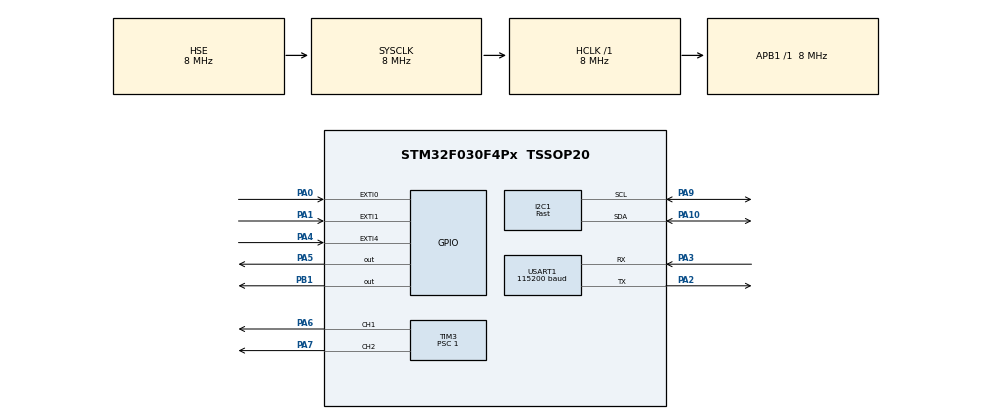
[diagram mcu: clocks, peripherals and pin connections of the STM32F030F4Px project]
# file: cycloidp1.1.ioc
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I2C1.I2C_Speed_Mode=I2C_Fast
I2C1.NoStretchMode=I2C_NOSTRETCH_ENABLE
I2C1.OwnAddress=0x75
I2C1.Timing=0x0000020B
Mcu.Family=STM32F0
Mcu.Name=STM32F030F4Px
Mcu.Package=TSSOP20
NVIC.EXTI0_1_IRQn=true\:0\:0\:false\:false\:false\:true
NVIC.EXTI4_15_IRQn=true\:0\:0\:false\:false\:false\:true
NVIC.I2C1_IRQn=true\:0\:0\:false\:false\:false\:true
NVIC.TIM14_IRQn=true\:0\:0\:false\:false\:false\:true
NVIC.TIM3_IRQn=true\:0\:0\:false\:false\:false\:true
NVIC.USART1_IRQn=true\:0\:0\:false\:false\:false\:true
PA0.GPIO_PuPd=GPIO_PULLDOWN
PA0.Signal=GPXTI0
PA1.GPIO_PuPd=GPIO_PULLDOWN
PA1.Signal=GPXTI1
PA10.Mode=I2C
PA10.Signal=I2C1_SDA
PA13.Mode=Serial_Wire
PA13.Signal=SYS_SWDIO
PA14.Mode=Serial_Wire
PA14.Signal=SYS_SWCLK
PA2.Mode=Asynchronous
PA2.Signal=USART1_TX
PA3.Mode=Asynchronous
PA3.Signal=USART1_RX
PA4.GPIO_PuPd=GPIO_PULLDOWN
PA4.Signal=GPXTI4
PA5.PinState=GPIO_PIN_SET
PA5.Signal=GPIO_Output
PA6.Signal=S_TIM3_CH1
PA7.Signal=S_TIM3_CH2
PA9.Mode=I2C
PA9.Signal=I2C1_SCL
PB1.PinState=GPIO_PIN_SET
PB1.Signal=GPIO_Output
PF0-OSC_IN.Mode=HSE-External-Oscillator
PF0-OSC_IN.Signal=RCC_OSC_IN
PF1-OSC_OUT.Mode=HSE-External-Oscillator
PF1-OSC_OUT.Signal=RCC_OSC_OUT
ProjectManager.HeapSize=0x200
ProjectManager.StackSize=0x400
ProjectManager.TargetToolchain=Makefile
RCC.AHBFreq_Value=8000000
RCC.APB1Freq_Value=8000000
RCC.APB1TimFreq_Value=8000000
RCC.HCLKFreq_Value=8000000
RCC.I2c1ClockSelection=RCC_I2C1CLKSOURCE_SYSCLK
RCC.PLLMUL=RCC_PLL_MUL6
RCC.PLLSourceVirtual=RCC_PLLSOURCE_HSE
RCC.SYSCLKFreq_VALUE=8000000
RCC.SYSCLKSource=RCC_SYSCLKSOURCE_HSE
SH.S_TIM3_CH1.0=TIM3_CH1,PWM Generation1 CH1
SH.S_TIM3_CH2.0=TIM3_CH2,PWM Generation2 CH2
TIM14.AutoReloadPreload=TIM_AUTORELOAD_PRELOAD_DISABLE
TIM14.Period=65535
TIM14.Prescaler=7
TIM3.AutoReloadPreload=TIM_AUTORELOAD_PRELOAD_ENABLE
TIM3.Channel-PWM\ Generation1\ CH1=TIM_CHANNEL_1
TIM3.Channel-PWM\ Generation2\ CH2=TIM_CHANNEL_2
TIM3.ClockDivision=TIM_CLOCKDIVISION_DIV1
TIM3.Period=39999
TIM3.Prescaler=1
TIM3.Pulse-PWM\ Generation1\ CH1=6000
TIM3.Pulse-PWM\ Generation2\ CH2=6000
USART1.AutoBaudRateEnableParam=UART_ADVFEATURE_AUTOBAUDRATE_DISABLE
USART1.BaudRate=115200
USART1.VirtualMode-Asynchronous=VM_ASYNC
VP_TIM14_VS_ClockSourceINT.Mode=Enable_Timer
VP_TIM3_VS_ClockSourceINT.Mode=Internal
board=custom

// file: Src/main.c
/* USER CODE BEGIN Header */
/**
  ******************************************************************************
  * @file           : main.c
  * @brief          : Main program body
  ******************************************************************************
  ** This notice applies to any and all portions of this file
  * that are not between comment pairs USER CODE BEGIN and
  * USER CODE END. Other portions of this file, whether
  * inserted by the user or by software development tools
  * are owned by their respective copyright owners.
  *
  * COPYRIGHT(c) 2018 STMicroelectronics
  *
  * Redistribution and use in source and binary forms, with or without modification,
  * are permitted provided that the following conditions are met:
  *   1. Redistributions of source code must retain the above copyright notice,
  *      this list of conditions and the following disclaimer.
  *   2. Redistributions in binary form must reproduce the above copyright notice,
  *      this list of conditions and the following disclaimer in the documentation
  *      and/or other materials provided with the distribution.
  *   3. Neither the name of STMicroelectronics nor the names of its contributors
  *      may be used to endorse or promote products derived from this software
  *      without specific prior written permission.
  *
  * THIS SOFTWARE IS PROVIDED BY THE COPYRIGHT HOLDERS AND CONTRIBUTORS "AS IS"
  * AND ANY EXPRESS OR IMPLIED WARRANTIES, INCLUDING, BUT NOT LIMITED TO, THE
  * IMPLIED WARRANTIES OF MERCHANTABILITY AND FITNESS FOR A PARTICULAR PURPOSE ARE
  * DISCLAIMED. IN NO EVENT SHALL THE COPYRIGHT HOLDER OR CONTRIBUTORS BE LIABLE
  * FOR ANY DIRECT, INDIRECT, INCIDENTAL, SPECIAL, EXEMPLARY, OR CONSEQUENTIAL
  * DAMAGES (INCLUDING, BUT NOT LIMITED TO, PROCUREMENT OF SUBSTITUTE GOODS OR
  * SERVICES; LOSS OF USE, DATA, OR PROFITS; OR BUSINESS INTERRUPTION) HOWEVER
  * CAUSED AND ON ANY THEORY OF LIABILITY, WHETHER IN CONTRACT, STRICT LIABILITY,
  * OR TORT (INCLUDING NEGLIGENCE OR OTHERWISE) ARISING IN ANY WAY OUT OF THE USE
  * OF THIS SOFTWARE, EVEN IF ADVISED OF THE POSSIBILITY OF SUCH DAMAGE.
  *
  ******************************************************************************
  */
/* USER CODE END Header */

#include "main.h"

I2C_HandleTypeDef hi2c1;

TIM_HandleTypeDef htim3;
TIM_HandleTypeDef htim14;

UART_HandleTypeDef huart1;

void SystemClock_Config(void);
static void MX_GPIO_Init(void);
static void MX_I2C1_Init(void);
static void MX_TIM3_Init(void);
static void MX_TIM14_Init(void);
static void MX_USART1_UART_Init(void);

int main(void)
{

  /* MCU Configuration--------------------------------------------------------*/

  /* Reset of all peripherals, Initializes the Flash interface and the Systick. */
  HAL_Init();

  /* Configure the system clock */
  SystemClock_Config();

  /* Initialize all configured peripherals */
  MX_GPIO_Init();
  MX_I2C1_Init();
  MX_TIM3_Init();
  MX_TIM14_Init();
  MX_USART1_UART_Init();
  /* USER CODE BEGIN 2 */

  HAL_TIM_PWM_Start(&htim3, TIM_CHANNEL_1);
  HAL_TIM_PWM_Start(&htim3, TIM_CHANNEL_2);
  HAL_TIM_Base_Start_IT(&htim3);
  HAL_TIM_Base_Start_IT(&htim14);
  __HAL_I2C_ENABLE_IT(&hi2c1, I2C_IT_ADDRI | I2C_IT_RXI | I2C_IT_TXI);
  SET_BIT(USART1->CR1, USART_CR1_RXNEIE);

  /* USER CODE END 2 */

  /* Infinite loop */
  while (1)
  {

    /* USER CODE BEGIN 3 */
    // Wait for interrupts; nothing else to do.
    __asm__("wfi");
  }
  /* USER CODE END 3 */
}

void SystemClock_Config(void)
{
  RCC_OscInitTypeDef RCC_OscInitStruct = {0};
  RCC_ClkInitTypeDef RCC_ClkInitStruct = {0};
  RCC_PeriphCLKInitTypeDef PeriphClkInit = {0};

  /**Initializes the CPU, AHB and APB busses clocks
  */
  RCC_OscInitStruct.OscillatorType = RCC_OSCILLATORTYPE_HSE;
  RCC_OscInitStruct.HSEState = RCC_HSE_ON;
  RCC_OscInitStruct.PLL.PLLState = RCC_PLL_NONE;
  if (HAL_RCC_OscConfig(&RCC_OscInitStruct) != HAL_OK)
  {
    Error_Handler();
  }
  /**Initializes the CPU, AHB and APB busses clocks
  */
  RCC_ClkInitStruct.ClockType = RCC_CLOCKTYPE_HCLK|RCC_CLOCKTYPE_SYSCLK
                              |RCC_CLOCKTYPE_PCLK1;
  RCC_ClkInitStruct.SYSCLKSource = RCC_SYSCLKSOURCE_HSE;
  RCC_ClkInitStruct.AHBCLKDivider = RCC_SYSCLK_DIV1;
  RCC_ClkInitStruct.APB1CLKDivider = RCC_HCLK_DIV1;

  if (HAL_RCC_ClockConfig(&RCC_ClkInitStruct, FLASH_LATENCY_0) != HAL_OK)
  {
    Error_Handler();
  }
  PeriphClkInit.PeriphClockSelection = RCC_PERIPHCLK_USART1|RCC_PERIPHCLK_I2C1;
  PeriphClkInit.Usart1ClockSelection = RCC_USART1CLKSOURCE_PCLK1;
  PeriphClkInit.I2c1ClockSelection = RCC_I2C1CLKSOURCE_SYSCLK;
  if (HAL_RCCEx_PeriphCLKConfig(&PeriphClkInit) != HAL_OK)
  {
    Error_Handler();
  }
}

static void MX_I2C1_Init(void)
{

  hi2c1.Instance = I2C1;
  hi2c1.Init.Timing = 0x0000020B;
  hi2c1.Init.OwnAddress1 = 234;
  hi2c1.Init.AddressingMode = I2C_ADDRESSINGMODE_7BIT;
  hi2c1.Init.DualAddressMode = I2C_DUALADDRESS_DISABLE;
  hi2c1.Init.OwnAddress2 = 0;
  hi2c1.Init.OwnAddress2Masks = I2C_OA2_NOMASK;
  hi2c1.Init.GeneralCallMode = I2C_GENERALCALL_DISABLE;
  hi2c1.Init.NoStretchMode = I2C_NOSTRETCH_ENABLE;
  if (HAL_I2C_Init(&hi2c1) != HAL_OK)
  {
    Error_Handler();
  }
  /**Configure Analogue filter
  */
  if (HAL_I2CEx_ConfigAnalogFilter(&hi2c1, I2C_ANALOGFILTER_ENABLE) != HAL_OK)
  {
    Error_Handler();
  }
  /**Configure Digital filter
  */
  if (HAL_I2CEx_ConfigDigitalFilter(&hi2c1, 0) != HAL_OK)
  {
    Error_Handler();
  }

}

static void MX_TIM3_Init(void)
{

  TIM_ClockConfigTypeDef sClockSourceConfig = {0};
  TIM_MasterConfigTypeDef sMasterConfig = {0};
  TIM_OC_InitTypeDef sConfigOC = {0};

  htim3.Instance = TIM3;
  htim3.Init.Prescaler = 1;
  htim3.Init.CounterMode = TIM_COUNTERMODE_UP;
  htim3.Init.Period = 39999;
  htim3.Init.ClockDivision = TIM_CLOCKDIVISION_DIV1;
  htim3.Init.AutoReloadPreload = TIM_AUTORELOAD_PRELOAD_ENABLE;
  if (HAL_TIM_Base_Init(&htim3) != HAL_OK)
  {
    Error_Handler();
  }
  sClockSourceConfig.ClockSource = TIM_CLOCKSOURCE_INTERNAL;
  if (HAL_TIM_ConfigClockSource(&htim3, &sClockSourceConfig) != HAL_OK)
  {
    Error_Handler();
  }
  if (HAL_TIM_PWM_Init(&htim3) != HAL_OK)
  {
    Error_Handler();
  }
  sMasterConfig.MasterOutputTrigger = TIM_TRGO_RESET;
  sMasterConfig.MasterSlaveMode = TIM_MASTERSLAVEMODE_DISABLE;
  if (HAL_TIMEx_MasterConfigSynchronization(&htim3, &sMasterConfig) != HAL_OK)
  {
    Error_Handler();
  }
  sConfigOC.OCMode = TIM_OCMODE_PWM1;
  sConfigOC.Pulse = 6000;
  sConfigOC.OCPolarity = TIM_OCPOLARITY_HIGH;
  sConfigOC.OCFastMode = TIM_OCFAST_DISABLE;
  if (HAL_TIM_PWM_ConfigChannel(&htim3, &sConfigOC, TIM_CHANNEL_1) != HAL_OK)
  {
    Error_Handler();
  }
  if (HAL_TIM_PWM_ConfigChannel(&htim3, &sConfigOC, TIM_CHANNEL_2) != HAL_OK)
  {
    Error_Handler();
  }
  HAL_TIM_MspPostInit(&htim3);

}

static void MX_TIM14_Init(void)
{

  htim14.Instance = TIM14;
  htim14.Init.Prescaler = 7;
  htim14.Init.CounterMode = TIM_COUNTERMODE_UP;
  htim14.Init.Period = 65535;
  htim14.Init.ClockDivision = TIM_CLOCKDIVISION_DIV1;
  htim14.Init.AutoReloadPreload = TIM_AUTORELOAD_PRELOAD_DISABLE;
  if (HAL_TIM_Base_Init(&htim14) != HAL_OK)
  {
    Error_Handler();
  }

}

static void MX_USART1_UART_Init(void)
{

  huart1.Instance = USART1;
  huart1.Init.BaudRate = 115200;
  huart1.Init.WordLength = UART_WORDLENGTH_8B;
  huart1.Init.StopBits = UART_STOPBITS_1;
  huart1.Init.Parity = UART_PARITY_NONE;
  huart1.Init.Mode = UART_MODE_TX_RX;
  huart1.Init.HwFlowCtl = UART_HWCONTROL_NONE;
  huart1.Init.OverSampling = UART_OVERSAMPLING_16;
  huart1.Init.OneBitSampling = UART_ONE_BIT_SAMPLE_DISABLE;
  huart1.AdvancedInit.AdvFeatureInit = UART_ADVFEATURE_NO_INIT;
  if (HAL_UART_Init(&huart1) != HAL_OK)
  {
    Error_Handler();
  }

}

static void MX_GPIO_Init(void)
{
  GPIO_InitTypeDef GPIO_InitStruct = {0};

  /* GPIO Ports Clock Enable */
  __HAL_RCC_GPIOF_CLK_ENABLE();
  __HAL_RCC_GPIOA_CLK_ENABLE();
  __HAL_RCC_GPIOB_CLK_ENABLE();

  /*Configure GPIO pin Output Level */
  HAL_GPIO_WritePin(GPIOA, GPIO_PIN_5, GPIO_PIN_SET);

  /*Configure GPIO pin Output Level */
  HAL_GPIO_WritePin(GPIOB, GPIO_PIN_1, GPIO_PIN_SET);

  /*Configure GPIO pins : PA0 PA1 PA4 */
  GPIO_InitStruct.Pin = GPIO_PIN_0|GPIO_PIN_1|GPIO_PIN_4;
  GPIO_InitStruct.Mode = GPIO_MODE_IT_RISING;
  GPIO_InitStruct.Pull = GPIO_PULLDOWN;
  HAL_GPIO_Init(GPIOA, &GPIO_InitStruct);

  /*Configure GPIO pin : PA5 */
  GPIO_InitStruct.Pin = GPIO_PIN_5;
  GPIO_InitStruct.Mode = GPIO_MODE_OUTPUT_PP;
  GPIO_InitStruct.Pull = GPIO_NOPULL;
  GPIO_InitStruct.Speed = GPIO_SPEED_FREQ_LOW;
  HAL_GPIO_Init(GPIOA, &GPIO_InitStruct);

  /*Configure GPIO pin : PB1 */
  GPIO_InitStruct.Pin = GPIO_PIN_1;
  GPIO_InitStruct.Mode = GPIO_MODE_OUTPUT_PP;
  GPIO_InitStruct.Pull = GPIO_NOPULL;
  GPIO_InitStruct.Speed = GPIO_SPEED_FREQ_LOW;
  HAL_GPIO_Init(GPIOB, &GPIO_InitStruct);

  /* EXTI interrupt init*/
  HAL_NVIC_SetPriority(EXTI0_1_IRQn, 0, 0);
  HAL_NVIC_EnableIRQ(EXTI0_1_IRQn);

  HAL_NVIC_SetPriority(EXTI4_15_IRQn, 0, 0);
  HAL_NVIC_EnableIRQ(EXTI4_15_IRQn);

}

/* USER CODE BEGIN 4 */

static const int COMMAND_TIMEOUT = 10;  // number of 10ms intervals to expect a command
static volatile uint8_t command_timeout_ = 0;

volatile union {
  struct {
    uint8_t leds;
    int8_t esc_pwm;
    int8_t servo_pwm;
    uint16_t motor_ticks;
    uint16_t motor_period;
    uint32_t motor_last_clock;
  } __attribute__((packed));
  uint8_t bytes[16];  // must be power of 2
} i2cdata_ = {.bytes = {0}}, i2cshadow_;

// TIM14: 65536us timer interrupt
static volatile uint16_t tim14_hi = 0;
void TIM14_IRQHandler(void)
{
  if(__HAL_TIM_GET_FLAG(&htim14, TIM_FLAG_UPDATE) != RESET) {
    __HAL_TIM_CLEAR_IT(&htim14, TIM_IT_UPDATE);
    if ((i2cdata_.motor_last_clock >> 16) == tim14_hi-1) {
      // no motor activity between 65..131ms ago; consider motor stopped
      i2cdata_.motor_period = 0;
    }
    tim14_hi++;
  }
}

// TIM14 is currently configured to tick every 1us but we may want more resolution
static uint32_t get_tim14_ticks() {
  return (((uint32_t)tim14_hi) << 16) + TIM14->CNT;
}

static uint16_t pwmtiming(int8_t pwm8) {
  return 6000 + (2000*pwm8 >> 7);
}

static void update_from_i2cdata() {
  __HAL_TIM_SET_COMPARE(&htim3, TIM_CHANNEL_1, pwmtiming(i2cdata_.servo_pwm));
  __HAL_TIM_SET_COMPARE(&htim3, TIM_CHANNEL_2, pwmtiming(i2cdata_.esc_pwm));
  HAL_GPIO_WritePin(GPIOA, GPIO_PIN_5, i2cdata_.leds & 1);
  HAL_GPIO_WritePin(GPIOB, GPIO_PIN_1, (i2cdata_.leds & 2) >> 1);
  command_timeout_ = COMMAND_TIMEOUT;
}

// If we don't receive a command from the host, reset our outputs to zero so we
// don't run away
static void reset_commands() {
  __HAL_TIM_SET_COMPARE(&htim3, TIM_CHANNEL_1, pwmtiming(0));
  __HAL_TIM_SET_COMPARE(&htim3, TIM_CHANNEL_2, pwmtiming(0));
  HAL_GPIO_WritePin(GPIOA, GPIO_PIN_5, 0);
  HAL_GPIO_WritePin(GPIOB, GPIO_PIN_1, 1);
}

static void update_phase() {
  // We only really care about the speed of the motor itself, so just track
  // that instead of individual phase windings.

  uint32_t t0 = i2cdata_.motor_last_clock;
  uint32_t t1 = get_tim14_ticks();
  int32_t p = t1 - t0;

  // smooth out period readings with an adaptive filter
  // low pass, ~15Hz bandwidth
  // the filter coefficient depends on period, as we aren't updating on a fixed
  // interval but rather on period itself.

  if (p < 32768) {
    // this can overflow if |lastp - p| >= 32768 but i'm not going
    // to worry about it
    int32_t lastp = i2cdata_.motor_period;
    p += ((p*(lastp - p)) >> 16);
  }
  if (p < 65535 && p > 0) {
    i2cdata_.motor_period = p;
  } else {
    i2cdata_.motor_period = 0;
  }

  i2cdata_.motor_last_clock = t1;
  i2cdata_.motor_ticks++;
}

void EXTI0_1_IRQHandler(void) {
  int update = 0;
  if(__HAL_GPIO_EXTI_GET_IT(GPIO_PIN_0) != RESET) {
    __HAL_GPIO_EXTI_CLEAR_IT(GPIO_PIN_0);
    update = 1;
  }
  if(__HAL_GPIO_EXTI_GET_IT(GPIO_PIN_1) != RESET) {
    __HAL_GPIO_EXTI_CLEAR_IT(GPIO_PIN_1);
    update = 1;
  }
  if (update) {
    update_phase();
  }
}

void EXTI4_15_IRQHandler(void) {
  if(__HAL_GPIO_EXTI_GET_IT(GPIO_PIN_4) != RESET) {
    __HAL_GPIO_EXTI_CLEAR_IT(GPIO_PIN_4);
    update_phase();
  }
}

// I2C slave

void I2C1_IRQHandler(void) {
  // The HAL I2C slave interrupt handler stuff is all garbage; implement our own here.
  static uint8_t reg_ptr = 0;
  static uint8_t firstbyte = 0;

  uint32_t itflags = READ_REG(I2C1->ISR);
  if (itflags & I2C_FLAG_ADDR) {  // address matched; start a transfer
    __HAL_I2C_CLEAR_FLAG(&hi2c1, I2C_FLAG_ADDR);
    if (I2C_GET_DIR(&hi2c1) == I2C_DIRECTION_TRANSMIT) {
      // prepare to receive bytes from master; first byte is register number
      firstbyte = 1;
    }
  }
  if (itflags & I2C_FLAG_TXE) {  // transmit register empty; send next byte
    reg_ptr = (reg_ptr+1) & (sizeof(i2cdata_) - 1);
    I2C1->TXDR = i2cshadow_.bytes[reg_ptr];
  }
  if (itflags & I2C_FLAG_RXNE) {  // receive register not empty
    uint8_t databyte = I2C1->RXDR & 0xff;
    if (firstbyte) {
      reg_ptr = databyte;
      firstbyte = 0;
      reg_ptr &= sizeof(i2cdata_) - 1;
      // flush TX buffer and reload with new data byte

      // just to ensure we don't spuriously re-trigger the interrupt we're
      // already in; I am not sure whether this is necessary:
      __disable_irq();
      i2cshadow_ = i2cdata_;  // make a shadow copy of the data for atomic reading
      I2C1->ISR |= I2C_FLAG_TXE;  // setting TXE flushes TXDR
      I2C1->TXDR = i2cshadow_.bytes[reg_ptr];
      __enable_irq();
    } else {
      reg_ptr &= sizeof(i2cdata_) - 1;
      i2cdata_.bytes[reg_ptr++] = databyte;
      update_from_i2cdata();
    }
  }
}

static uint8_t usart_txbuf[5];
static uint8_t usart_txptr = 0;
static uint8_t usart_rxbuf[4];
static int8_t usart_rxptr = -1;

void TIM3_IRQHandler(void) {
  if (__HAL_TIM_GET_FLAG(&htim3, TIM_FLAG_UPDATE) != RESET) {
    __HAL_TIM_CLEAR_IT(&htim3, TIM_IT_UPDATE);
    usart_txbuf[4] = 0xaa;
    for (uint8_t i = 0; i < 4; i++) {
      // send motor ticks and period (4 bytes, starting at 3rd i2c register)
      usart_txbuf[i] = i2cdata_.bytes[3+i];
      usart_txbuf[4] += usart_txbuf[i];
    }
    usart_txbuf[4] = ~usart_txbuf[4];
    USART1->TDR = 0xaa;
    SET_BIT(USART1->CR1, USART_CR1_TXEIE);
    usart_txptr = 0;

    if (command_timeout_ > 0) {
      command_timeout_--;
      if (command_timeout_ == 0) {
        reset_commands();
      }
    }
  }
}

void process_serial_msg(const uint8_t *buf) {
  uint8_t cksum = 0x55;
  for (uint8_t i = 0; i < 4; i++) {
    cksum += buf[i];
  }
  if (cksum != 0xff) {
    // invalid message!
    if (usart_txptr == 5) {  // don't respond unless we're not transmitting anything
      USART1->TDR = 0xfe;  // respond with a made-up NAK scheme
    }
  } else {
    for (uint8_t i = 0; i < 3; i++) {
      i2cdata_.bytes[i] = buf[i];
    }
    update_from_i2cdata();
  }
}

void USART1_IRQHandler(void) {
  uint32_t itflags = READ_REG(USART1->ISR);
  if (itflags & USART_ISR_TXE) {
    if (usart_txptr < 5) {
      USART1->TDR = usart_txbuf[usart_txptr++];
    } else {
      CLEAR_BIT(USART1->CR1, USART_CR1_TXEIE);
    }
  }
  if (itflags & USART_ISR_RXNE) {
    uint8_t chr = READ_REG(USART1->RDR);
    if (usart_rxptr >= sizeof(usart_rxbuf)) {
      usart_rxptr = -1;
    }
    if (usart_rxptr < 0 && chr == 0x55) {
      usart_rxptr = 0;
    } else if (usart_rxptr >= 0) {
      usart_rxbuf[usart_rxptr++] = chr;
      if (usart_rxptr == 4) {
        process_serial_msg(usart_rxbuf);
        usart_rxptr = -1;
      }
    }
  }
}

/* USER CODE END 4 */

void Error_Handler(void)
{
}

/************************ (C) COPYRIGHT STMicroelectronics *****END OF FILE****/
